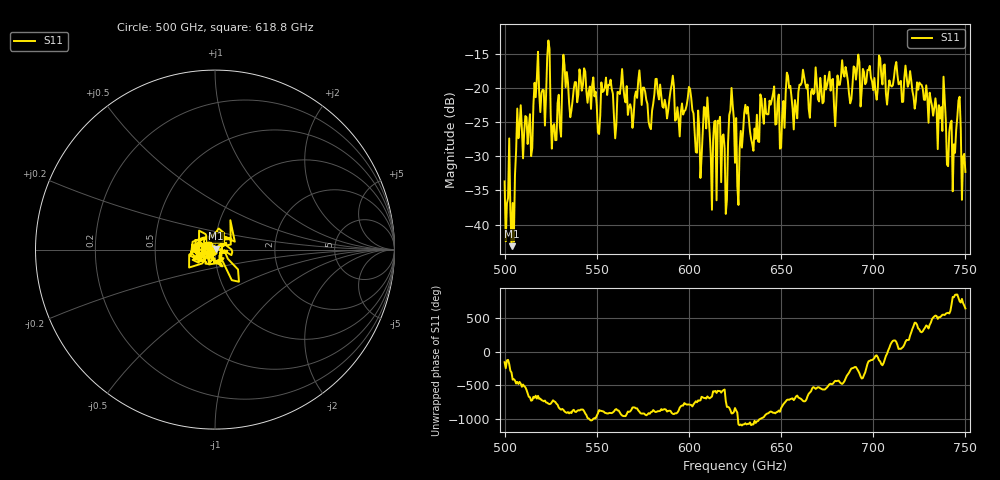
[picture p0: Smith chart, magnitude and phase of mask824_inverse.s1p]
!Created with skrf (http://scikit-rf.org).
# GHz S MA R 50.0
!freq magS11 angS11
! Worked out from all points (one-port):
!   401 points, 500 GHz to 750 GHz, reference 50 ohm
!   lowest |S11| = -43.2 dB at 503.8 GHz (marker M1), VSWR 1.01, Z = 50.5 + j0.532 ohm
!   |S11| at or under -10 dB: start of sweep to end of sweep
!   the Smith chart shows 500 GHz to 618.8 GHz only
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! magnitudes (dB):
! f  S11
! 500 GHz  -33.7
! 503.8 GHz  -43.2
! 507.5 GHz  -27.3
! 513.8 GHz  -23.8
! 516.9 GHz  -21.3
! 523.8 GHz  -13.0
! 526.9 GHz  -25.3
! 531.2 GHz  -19.6
! 562.5 GHz  -20.9
! 578.8 GHz  -25.7
! 590.6 GHz  -19.5
! 593.8 GHz  -22.8
! 600.6 GHz  -20.1
! 605.6 GHz  -26.0
! 609.4 GHz  -25.9
! 620 GHz  -38.4
! 623.1 GHz  -20.0
! 625 GHz  -30.9
! 627.5 GHz  -28.9
! 631.2 GHz  -23.7
! 635 GHz  -29.2
! 656.2 GHz  -23.0
! 687.5 GHz  -22.2
! 718.8 GHz  -19.8
! 738.1 GHz  -18.3
! 741.9 GHz  -25.1
! 746.2 GHz  -21.8
! 750 GHz  -32.3
